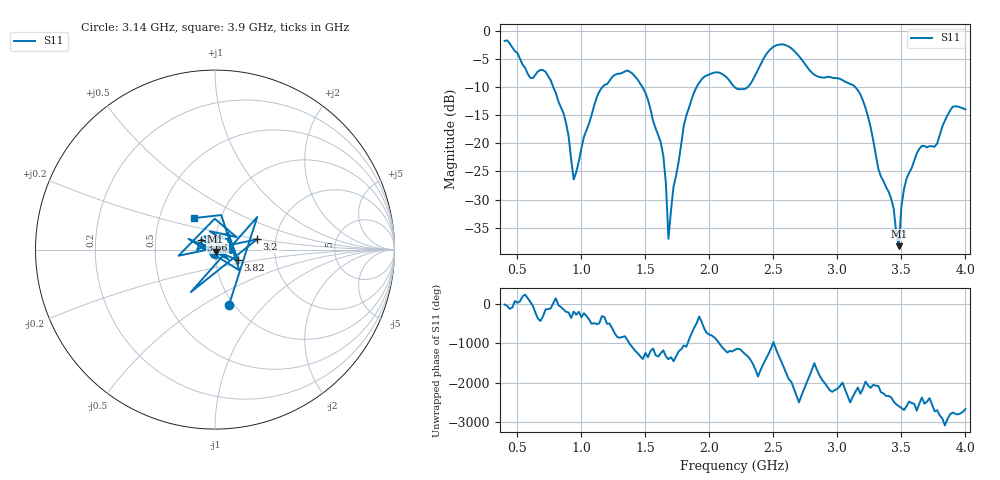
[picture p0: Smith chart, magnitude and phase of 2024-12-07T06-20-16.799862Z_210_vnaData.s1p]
!Created with skrf (http://scikit-rf.org).
# Hz S RI R 50.0
!freq ReS11 ImS11
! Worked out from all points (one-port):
!   181 points, 400 MHz to 4 GHz, reference 50 ohm
!   lowest |S11| = -38.3 dB at 3.48 GHz (marker M1), VSWR 1.02, Z = 50.3 - j1.17 ohm
!   |S11| at or under -10 dB: 780.4 MHz to 1.162 GHz (381.7 MHz wide, 39.3 % of centre); 1.478 GHz to 1.899 GHz (420.6 MHz wide, 24.9 % of centre); 3.141 GHz to end of sweep (the widest 3 of 4)
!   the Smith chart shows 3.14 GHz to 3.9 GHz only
!   S11 on the Smith chart (normalised r, x): 3.14 GHz: 0.95, -0.65; 3.2 GHz: 1.60, +0.19; 3.66 GHz: 0.85, +0.09; 3.82 GHz: 1.28, -0.16; 3.9 GHz: 0.75, +0.27
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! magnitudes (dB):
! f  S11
! 400 MHz  -1.7
! 600 MHz  -8.3
! 720 MHz  -7.3
! 860 MHz  -14.6
! 940 MHz  -26.4
! 1.12 GHz  -11.8
! 1.3 GHz  -7.6
! 1.48 GHz  -10.1
! 1.62 GHz  -19.8
! 1.66 GHz  -27.1
! 1.68 GHz  -37.0
! 1.76 GHz  -23.2
! 1.82 GHz  -15.0
! 1.94 GHz  -8.6
! 2.2 GHz  -10.0
! 2.5 GHz  -2.8
! 2.66 GHz  -3.5
! 3.1 GHz  -9.4
! 3.14 GHz  -10.0
! 3.2 GHz  -12.4
! 3.44 GHz  -31.7
! 3.48 GHz  -38.3
! 3.5 GHz  -31.2
! 3.56 GHz  -25.3
! 3.66 GHz  -20.4
! 3.82 GHz  -17.0
! 3.9 GHz  -13.5
! 4 GHz  -13.9
